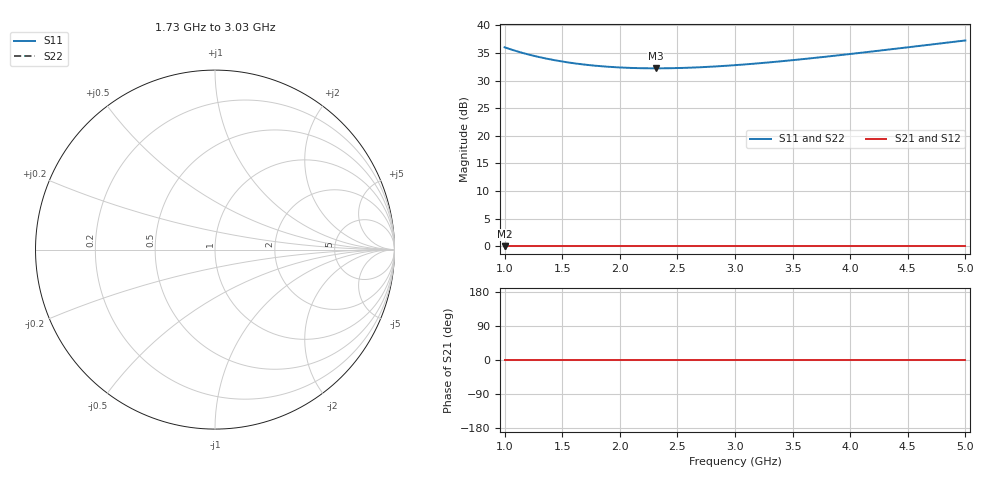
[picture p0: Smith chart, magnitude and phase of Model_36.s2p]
# GHZ S RI R 50
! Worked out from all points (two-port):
!   401 points, 1 GHz to 5 GHz, reference 50 ohm
!   highest |S21| = 0.00 dB at 1 GHz (marker M1); lowest = 0.0 dB at 1 GHz (marker M2)
!   |S21| within 3 dB of the highest: start of sweep to end of sweep
!   lowest |S11| = 32.2 dB at 2.31 GHz (marker M3)
!   |S11| at or under -10 dB: nowhere
!   |S22| runs from 32.2 to 37.3 dB; largest |S21 - S12| = 0
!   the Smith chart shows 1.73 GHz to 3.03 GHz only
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1  63.39 0  1 0  1 0  63.39 0
1.15  56.65 0  1 0  1 0  56.65 0
1.22  54.17 0  1 0  1 0  54.17 0
1.3  51.74 0  1 0  1 0  51.74 0
1.38  49.68 0  1 0  1 0  49.68 0
1.47  47.73 0  1 0  1 0  47.73 0
1.57  45.94 0  1 0  1 0  45.94 0
1.67  44.51 0  1 0  1 0  44.51 0
1.82  42.89 0  1 0  1 0  42.89 0
1.97  41.81 0  1 0  1 0  41.81 0
2.14  41.11 0  1 0  1 0  41.11 0
2.31  40.89 0  1 0  1 0  40.89 0
2.34  40.9 0  1 0  1 0  40.9 0
2.5  41.13 0  1 0  1 0  41.13 0
2.66  41.66 0  1 0  1 0  41.66 0
3  43.68 0  1 0  1 0  43.68 0
3.33  46.64 0  1 0  1 0  46.64 0
3.67  50.56 0  1 0  1 0  50.56 0
4  55.15 0  1 0  1 0  55.15 0
4.34  60.61 0  1 0  1 0  60.61 0
4.63  65.82 0  1 0  1 0  65.82 0
5  73.17 0  1 0  1 0  73.17 0
